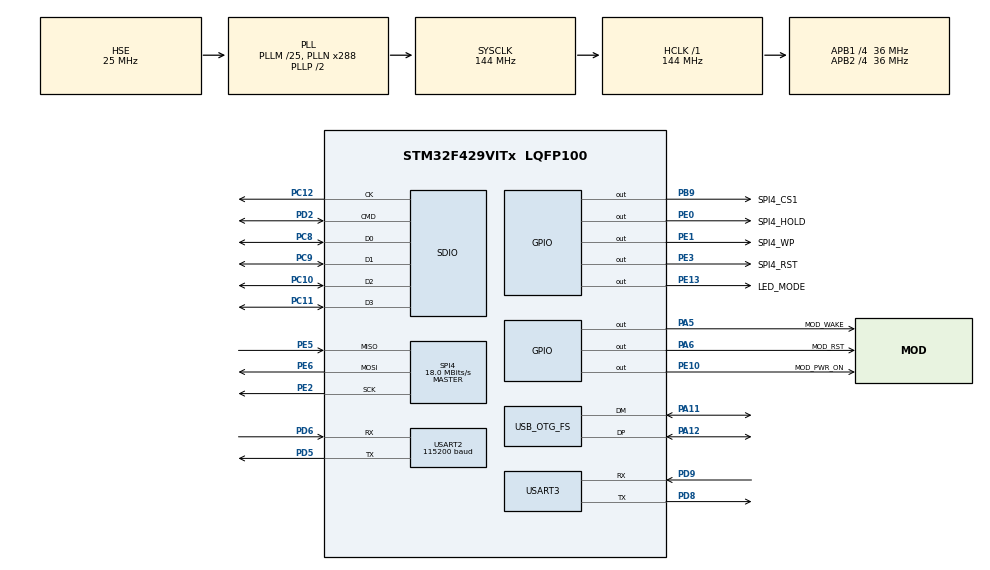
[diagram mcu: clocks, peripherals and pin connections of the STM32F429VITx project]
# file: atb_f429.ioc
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Dma.Request0=SPI4_TX
Dma.Request1=SPI4_RX
Dma.Request2=USART3_TX
Dma.Request3=SDIO
Dma.Request4=USART2_TX
Dma.SDIO.3.Direction=DMA_PERIPH_TO_MEMORY
Dma.SDIO.3.FIFOMode=DMA_FIFOMODE_ENABLE
Dma.SDIO.3.FIFOThreshold=DMA_FIFO_THRESHOLD_FULL
Dma.SDIO.3.Instance=DMA2_Stream3
Dma.SDIO.3.MemBurst=DMA_MBURST_INC4
Dma.SDIO.3.MemDataAlignment=DMA_MDATAALIGN_WORD
Dma.SDIO.3.MemInc=DMA_MINC_ENABLE
Dma.SDIO.3.Mode=DMA_PFCTRL
Dma.SDIO.3.PeriphBurst=DMA_PBURST_INC4
Dma.SDIO.3.PeriphDataAlignment=DMA_PDATAALIGN_WORD
Dma.SDIO.3.PeriphInc=DMA_PINC_DISABLE
Dma.SDIO.3.Priority=DMA_PRIORITY_LOW
Dma.SPI4_RX.1.Direction=DMA_PERIPH_TO_MEMORY
Dma.SPI4_RX.1.FIFOMode=DMA_FIFOMODE_DISABLE
Dma.SPI4_RX.1.Instance=DMA2_Stream0
Dma.SPI4_RX.1.MemDataAlignment=DMA_MDATAALIGN_BYTE
Dma.SPI4_RX.1.MemInc=DMA_MINC_ENABLE
Dma.SPI4_RX.1.Mode=DMA_NORMAL
Dma.SPI4_RX.1.PeriphDataAlignment=DMA_PDATAALIGN_BYTE
Dma.SPI4_RX.1.PeriphInc=DMA_PINC_DISABLE
Dma.SPI4_RX.1.Priority=DMA_PRIORITY_MEDIUM
Dma.SPI4_TX.0.Direction=DMA_MEMORY_TO_PERIPH
Dma.SPI4_TX.0.FIFOMode=DMA_FIFOMODE_DISABLE
Dma.SPI4_TX.0.Instance=DMA2_Stream1
Dma.SPI4_TX.0.MemDataAlignment=DMA_MDATAALIGN_BYTE
Dma.SPI4_TX.0.MemInc=DMA_MINC_ENABLE
Dma.SPI4_TX.0.Mode=DMA_NORMAL
Dma.SPI4_TX.0.PeriphDataAlignment=DMA_PDATAALIGN_BYTE
Dma.SPI4_TX.0.PeriphInc=DMA_PINC_DISABLE
Dma.SPI4_TX.0.Priority=DMA_PRIORITY_MEDIUM
Dma.USART2_TX.4.Direction=DMA_MEMORY_TO_PERIPH
Dma.USART2_TX.4.FIFOMode=DMA_FIFOMODE_DISABLE
Dma.USART2_TX.4.Instance=DMA1_Stream6
Dma.USART2_TX.4.MemDataAlignment=DMA_MDATAALIGN_BYTE
Dma.USART2_TX.4.MemInc=DMA_MINC_ENABLE
Dma.USART2_TX.4.Mode=DMA_NORMAL
Dma.USART2_TX.4.PeriphDataAlignment=DMA_PDATAALIGN_BYTE
Dma.USART2_TX.4.PeriphInc=DMA_PINC_DISABLE
Dma.USART2_TX.4.Priority=DMA_PRIORITY_MEDIUM
Dma.USART3_TX.2.Direction=DMA_MEMORY_TO_PERIPH
Dma.USART3_TX.2.FIFOMode=DMA_FIFOMODE_DISABLE
Dma.USART3_TX.2.Instance=DMA1_Stream3
Dma.USART3_TX.2.MemDataAlignment=DMA_MDATAALIGN_BYTE
Dma.USART3_TX.2.MemInc=DMA_MINC_ENABLE
Dma.USART3_TX.2.Mode=DMA_NORMAL
Dma.USART3_TX.2.PeriphDataAlignment=DMA_PDATAALIGN_BYTE
Dma.USART3_TX.2.PeriphInc=DMA_PINC_DISABLE
Dma.USART3_TX.2.Priority=DMA_PRIORITY_HIGH
FATFS.USE_DMA_CODE_SD=0
FATFS._CODE_PAGE=850
FATFS._LFN_UNICODE=0
FATFS._MAX_LFN=128
FATFS._MAX_SS=512
FATFS._STRF_ENCODE=0
FATFS._USE_LFN=1
FATFS._USE_TRIM=1
Mcu.Family=STM32F4
Mcu.Name=STM32F429VITx
Mcu.Package=LQFP100
NVIC.DMA1_Stream3_IRQn=true\:0\:0\:false\:false\:true\:false\:true\:true
NVIC.DMA1_Stream6_IRQn=true\:0\:0\:false\:false\:true\:false\:true\:true
NVIC.DMA2_Stream0_IRQn=true\:0\:0\:false\:false\:true\:false\:true\:true
NVIC.DMA2_Stream1_IRQn=true\:0\:0\:false\:false\:true\:false\:true\:true
NVIC.DMA2_Stream3_IRQn=true\:0\:0\:false\:false\:true\:false\:true\:true
NVIC.OTG_FS_IRQn=true\:0\:0\:false\:false\:true\:false\:true\:true
NVIC.PriorityGroup=NVIC_PRIORITYGROUP_4
NVIC.SDIO_IRQn=true\:0\:0\:false\:false\:true\:true\:true\:true
NVIC.SPI4_IRQn=true\:0\:0\:false\:false\:true\:true\:true\:true
NVIC.TIM2_IRQn=true\:0\:0\:false\:false\:true\:true\:true\:true
NVIC.USART2_IRQn=true\:0\:0\:false\:false\:true\:true\:true\:true
NVIC.USART3_IRQn=true\:0\:0\:false\:false\:true\:true\:true\:true
PA11.Mode=Device_Only
PA11.Signal=USB_OTG_FS_DM
PA12.Mode=Device_Only
PA12.Signal=USB_OTG_FS_DP
PA5.GPIO_Label=MOD_WAKE
PA5.Signal=GPIO_Output
PA6.GPIO_Label=MOD_RST
PA6.GPIO_PuPd=GPIO_PULLUP
PA6.PinState=GPIO_PIN_SET
PA6.Signal=GPIO_Output
PB9.GPIO_Label=SPI4_CS1
PB9.GPIO_PuPd=GPIO_PULLUP
PB9.GPIO_Speed=GPIO_SPEED_FREQ_HIGH
PB9.PinState=GPIO_PIN_SET
PB9.Signal=GPIO_Output
PC10.Mode=SD_4_bits_Wide_bus
PC10.Signal=SDIO_D2
PC11.Mode=SD_4_bits_Wide_bus
PC11.Signal=SDIO_D3
PC12.GPIO_PuPd=GPIO_NOPULL
PC12.Mode=SD_4_bits_Wide_bus
PC12.Signal=SDIO_CK
PC14/OSC32_IN.Mode=LSE-External-Oscillator
PC14/OSC32_IN.Signal=RCC_OSC32_IN
PC15/OSC32_OUT.Mode=LSE-External-Oscillator
PC15/OSC32_OUT.Signal=RCC_OSC32_OUT
PC8.GPIO_PuPd=GPIO_NOPULL
PC8.Mode=SD_4_bits_Wide_bus
PC8.Signal=SDIO_D0
PC9.Mode=SD_4_bits_Wide_bus
PC9.Signal=SDIO_D1
PD2.GPIO_PuPd=GPIO_NOPULL
PD2.Mode=SD_4_bits_Wide_bus
PD2.Signal=SDIO_CMD
PD3.Signal=USART2_CTS
PD4.Signal=USART2_RTS
PD5.Mode=Asynchronous
PD5.Signal=USART2_TX
PD6.Mode=Asynchronous
PD6.Signal=USART2_RX
PD8.Mode=Asynchronous
PD8.Signal=USART3_TX
PD9.Mode=Asynchronous
PD9.Signal=USART3_RX
PE0.GPIO_Label=SPI4_HOLD
PE0.GPIO_PuPd=GPIO_PULLUP
PE0.GPIO_Speed=GPIO_SPEED_FREQ_MEDIUM
PE0.PinState=GPIO_PIN_SET
PE0.Signal=GPIO_Output
PE1.GPIO_Label=SPI4_WP
PE1.GPIO_PuPd=GPIO_PULLUP
PE1.GPIO_Speed=GPIO_SPEED_FREQ_MEDIUM
PE1.Signal=GPIO_Output
PE10.GPIO_Label=MOD_PWR_ON
PE10.GPIO_ModeDefaultOutputPP=GPIO_MODE_OUTPUT_OD
PE10.GPIO_PuPd=GPIO_PULLUP
PE10.Signal=GPIO_Output
PE13.GPIO_Label=LED_MODE
PE13.GPIO_PuPd=GPIO_PULLUP
PE13.GPIO_Speed=GPIO_SPEED_FREQ_MEDIUM
PE13.Signal=GPIO_Output
PE2.Mode=Full_Duplex_Master
PE2.Signal=SPI4_SCK
PE3.GPIO_Label=SPI4_RST
PE3.GPIO_PuPd=GPIO_PULLUP
PE3.GPIO_Speed=GPIO_SPEED_FREQ_LOW
PE3.PinState=GPIO_PIN_SET
PE3.Signal=GPIO_Output
PE5.Mode=Full_Duplex_Master
PE5.Signal=SPI4_MISO
PE6.Mode=Full_Duplex_Master
PE6.Signal=SPI4_MOSI
PH0/OSC_IN.Mode=HSE-External-Oscillator
PH0/OSC_IN.Signal=RCC_OSC_IN
PH1/OSC_OUT.Mode=HSE-External-Oscillator
PH1/OSC_OUT.Signal=RCC_OSC_OUT
ProjectManager.HeapSize=0x1800
ProjectManager.StackSize=0x1800
ProjectManager.TargetToolchain=STM32CubeIDE
RCC.48MHZClocksFreq_Value=48000000
RCC.AHBFreq_Value=144000000
RCC.APB1CLKDivider=RCC_HCLK_DIV4
RCC.APB1Freq_Value=36000000
RCC.APB1TimFreq_Value=72000000
RCC.APB2CLKDivider=RCC_HCLK_DIV4
RCC.APB2Freq_Value=36000000
RCC.APB2TimFreq_Value=72000000
RCC.CortexFreq_Value=144000000
RCC.HCLKFreq_Value=144000000
RCC.HSE_VALUE=25000000
RCC.HSI_VALUE=16000000
RCC.PLLM=25
RCC.PLLN=288
RCC.PLLQ=6
RCC.RCC_RTC_Clock_Source=RCC_RTCCLKSOURCE_LSE
RCC.RCC_RTC_Clock_SourceVirtual=RCC_RTCCLKSOURCE_LSE
RCC.SYSCLKFreq_VALUE=144000000
RCC.SYSCLKSource=RCC_SYSCLKSOURCE_PLLCLK
RCC.VCOOutputFreq_Value=288000000
RTC.Date=14
RTC.Year=24
SDIO.ClockBypass=SDIO_CLOCK_BYPASS_DISABLE
SDIO.ClockDiv=48
SDIO.ClockEdge=SDIO_CLOCK_EDGE_RISING
SDIO.ClockPowerSave=SDIO_CLOCK_POWER_SAVE_DISABLE
SDIO.HardwareFlowControl=SDIO_HARDWARE_FLOW_CONTROL_DISABLE
SPI4.BaudRatePrescaler=SPI_BAUDRATEPRESCALER_2
SPI4.CalculateBaudRate=18.0 MBits/s
SPI4.Direction=SPI_DIRECTION_2LINES
SPI4.Mode=SPI_MODE_MASTER
SPI4.VirtualType=VM_MASTER
TIM2.AutoReloadPreload=TIM_AUTORELOAD_PRELOAD_ENABLE
TIM2.ClockDivision=TIM_CLOCKDIVISION_DIV2
TIM2.Period=499
TIM2.Prescaler=35999
USART2.BaudRate=115200
USART2.OverSampling=UART_OVERSAMPLING_16
USART2.VirtualMode=VM_ASYNC
USART3.VirtualMode=VM_ASYNC
USB_DEVICE.APP_RX_DATA_SIZE-CDC_FS=1024
USB_DEVICE.APP_TX_DATA_SIZE-CDC_FS=1024
USB_DEVICE.CLASS_NAME_FS=CDC
USB_DEVICE.VirtualMode-CDC_FS=Cdc
USB_DEVICE.VirtualModeFS=Cdc_FS
USB_OTG_FS.VirtualMode=Device_Only
VP_FATFS_VS_SDIO.Mode=SDIO
VP_RTC_VS_RTC_Activate.Mode=RTC_Enabled
VP_RTC_VS_RTC_Calendar.Mode=RTC_Calendar
VP_TIM2_VS_ClockSourceINT.Mode=Internal
VP_USB_DEVICE_VS_USB_DEVICE_CDC_FS.Mode=CDC_FS
board=custom

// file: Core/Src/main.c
/* USER CODE BEGIN Header */
/**
  ******************************************************************************
  * @file           : main.c
  * @brief          : Main program body
  ******************************************************************************
  * @attention
  *
  * Copyright (c) 2024 STMicroelectronics.
  * All rights reserved.
  *
  * This software is licensed under terms that can be found in the LICENSE file
  * in the root directory of this software component.
  * If no LICENSE file comes with this software, it is provided AS-IS.
  *
  ******************************************************************************
  arm-none-eabi-objcopy -O ihex "${BuildArtifactFileBaseName}.elf" "${BuildArtifactFileBaseName}.hex" && arm-none-eabi-objcopy -O binary "${BuildArtifactFileBaseName}.elf" "${BuildArtifactFileBaseName}.bin" && ls -la | grep "${BuildArtifactFileBaseName}.*"
  */
/* USER CODE END Header */
#include "main.h"
#include "fatfs.h"
#include "usb_device.h"

/* USER CODE BEGIN Includes */

#include "usbd_cdc_if.h"
#include "mod.h"
//#include "usbd_storage_if.h"

/* USER CODE END Includes */

RTC_HandleTypeDef hrtc;

SD_HandleTypeDef hsd;
DMA_HandleTypeDef hdma_sdio;

SPI_HandleTypeDef hspi4;
DMA_HandleTypeDef hdma_spi4_tx;
DMA_HandleTypeDef hdma_spi4_rx;

TIM_HandleTypeDef htim2;

UART_HandleTypeDef huart2;
UART_HandleTypeDef huart3;
DMA_HandleTypeDef hdma_usart2_tx;
DMA_HandleTypeDef hdma_usart3_tx;

/* USER CODE BEGIN PV */
uint16_t devError = HAL_OK;

TIM_HandleTypeDef *timePort = &htim2;
UART_HandleTypeDef *portLOG = &huart3;//порт логов (uart)
#ifdef SET_W25FLASH
	SPI_HandleTypeDef *portFLASH = &hspi4;
	uint32_t spi_cnt = 0;
	uint8_t spiRdy = 1;
#endif
UART_HandleTypeDef *portMODEM = &huart2;//порт модема (uart)

char atCmd[256] = {0};
char atAck[256] = {0};
volatile uint8_t uartRdyMod = 1;
char RxBufMod[256] = {0};
volatile uint8_t rx_uk_mod;
volatile uint8_t uRxByteMod = 0;

uint8_t pageBuf[256];
char cmdBuf[MAX_UART_BUF + 24];
volatile uint8_t uartRdy = 1;
char RxBuf[MAX_UART_BUF] = {0};
volatile uint8_t rx_uk;
volatile uint8_t uRxByte = 0;

char oBuf[1024] = {0};
char iBuf[1024] = {0};
int np = 0;
uint32_t len_data = 0, len = 0;

volatile uint32_t vatra = 0;
volatile uint32_t seconda = 0;
uint32_t tmr = 0;
bool setDate = false;
static uint32_t epoch = 1722430459;//1720606603;//1714116555;//1705500950;//1705391321;
uint8_t tZone = 3;
volatile bool QuitLoop = false;

const char *eol = "\n";
uint32_t strob = 0;
int8_t cmd = sNone;
int8_t icmd = sNone;
const uint32_t period = 30;//sec

#ifdef SET_W25FLASH
	bool chipPresent = false;
	uint32_t cid = 0;
	//
	int adr_sector = 0, offset_sector = 0, list_sector = 0, len_write = 0;
	int cmd_sector = sNone, last_cmd_sector = sNone;
	uint8_t byte_fill = 0xff;
	bool flag_sector = false;
	uint32_t esector = 0, rpage = 0;
	uint8_t *pbuf = NULL;
	//
#endif

#ifdef SET_FAT_SD
	extern char SDPath[4];       // SD logical drive path
	extern FATFS SDFatFS;        // File system object for SD logical drive
	const char *cfg = "url.txt";
	bool mnt = false;
	const char *dirName = "/";
	unsigned char fs_work[_MAX_SS] = {0};
	char strf[512] = {0};
	char str_name[_MAX_LFN] = {0};
#endif

uint32_t lenVCP = 0;
char rxVCP[128] = {0};

s_recq_t gsmAck;
bool gsmAckFlag = false;
uint8_t adone = 0;

char egts_addr[MAX_ADDR_LEN] = {0};
char ctrl_addr[MAX_ADDR_LEN] = {0};

/* USER CODE END PV */

void SystemClock_Config(void);
static void MX_GPIO_Init(void);
static void MX_DMA_Init(void);
static void MX_SPI4_Init(void);
static void MX_RTC_Init(void);
static void MX_USART3_UART_Init(void);
static void MX_TIM2_Init(void);
static void MX_USART2_UART_Init(void);
static void MX_SDIO_SD_Init(void);

/* USER CODE BEGIN 0 */

//----------------------------------------------------------------------------------------
bool initSRECQ(s_recq_t *q)//s_recq_t recq;
{
	q->put = q->get = 0;
	for (uint8_t i = 0; i < MAX_SQREC; i++) {
		q->rec[i].id = i;
		q->rec[i].adr = NULL;
	}
	return true;
}
//----------------------------------------------------------------------------------------
void clearSRECQ(s_recq_t *q)
{
	q->put = q->get = 0;
	for (uint8_t i = 0; i < MAX_SQREC; i++) {
		q->rec[i].id = i;
		free(q->rec[i].adr);
		q->rec[i].adr = NULL;
	}
}
//----------------------------------------------------------------------------------------
int8_t putSRECQ(char *adr, s_recq_t *q)
{
int8_t ret = -1;

	if (q->rec[q->put].adr == NULL) {
		q->rec[q->put].adr = adr;
		ret = q->rec[q->put].id;
		q->put++;   if (q->put >= MAX_SQREC) q->put = 0;
	}

	return ret;
}
//----------------------------------------------------------------------------------------
int8_t getSRECQ(char *dat, s_recq_t *q)
{
int8_t ret = -1;
int len = 0;

	if (q->rec[q->get].adr != NULL) {
		len = strlen(q->rec[q->get].adr);
		ret = q->rec[q->get].id;
		memcpy(dat, q->rec[q->get].adr, len);
		free(q->rec[q->get].adr);
		q->rec[q->get].adr = NULL;
	}

	if (ret >= 0) {
		*(dat + len) = '\0';
		q->get++;   if (q->get >= MAX_SQREC) q->get = 0;
	}

	return ret;
}

//------------------------------------------------------------------------------------------

//*****************************************************************************************
//
#ifdef SET_FAT_SD
	//------------------------------------------------------------------------------------
	static char *fsErrName(int fr)
	{
		switch (fr) {
		    case -1://FR_ERR:
		    	return "Error";
			case FR_OK:				// (0) Succeeded
				return "Succeeded";
			case FR_DISK_ERR://			(1) A hard error occurred in the low level disk I/O layer
				return "Error disk I/O";
			case FR_INT_ERR://			(2) Assertion failed
				return "Assertion failed";
			case FR_NOT_READY://		(3) The physical drive cannot work
				return "Drive not ready";
			case FR_NO_FILE://			(4) Could not find the file
				return "No file";
			case FR_NO_PATH://			(5) Could not find the path
				return "No path";
			case FR_INVALID_NAME://		(6) The path name format is invalid
				return "Path error";
			case FR_DENIED://			(7) Access denied due to prohibited access or directory full
			case FR_EXIST://			(8) Access denied due to prohibited access
				return "Access denied";
			case FR_INVALID_OBJECT://	(9) The file/directory object is invalid
				return "Invalid file/dir";
			case FR_WRITE_PROTECTED://	(10) The physical drive is write protected
				return "Write protected";
			case FR_INVALID_DRIVE://	(11) The logical drive number is invalid
				return "Invalid drive number";
			case FR_NOT_ENABLED://		(12) The volume has no work area
				return "Volume no area";
			case FR_NO_FILESYSTEM://	(13) There is no valid FAT volume
				return "Volume has't filesystem";
			case FR_MKFS_ABORTED://		(14) The f_mkfs() aborted due to any problem
				return "f_mkfs() aborted";
			case FR_TIMEOUT://			(15) Could not get a grant to access the volume within defined period
				return "Timeout access";
			case FR_LOCKED://			(16) The operation is rejected according to the file sharing policy
				return "File locked";
			case FR_NOT_ENOUGH_CORE://	(17) LFN working buffer could not be allocated
				return "Allocated buf error";
			case FR_TOO_MANY_OPEN_FILES://	(18) Number of open files > _FS_LOCK
				return "Open file limit";
			case FR_INVALID_PARAMETER://	(19) Given parameter is invalid
				return "Invalid parameter";
		}
		return "Unknown error";
	}
	//------------------------------------------------------------------------------------------
	static char *attrName(uint8_t attr)
	{
		switch (attr) {
			case AM_RDO://	0x01	/* Read only */
				return "Read only";
			case AM_HID://	0x02	/* Hidden */
				return "Hidden";
			case AM_SYS://	0x04	/* System */
				return "System";
			case AM_DIR://	0x10	/* Directory */
				return "Directory";
			case AM_ARC://	0x20	/* Archive */
				return "Archive";
			default : return "Unknown";
		}
	}
	//------------------------------------------------------------------------------------------
	static char *fsName(uint8_t type)
	{
		switch (type) {
			case FM_FAT://	 0x01
				return "FM_FAT";
			case FM_FAT32:// 0x02
				return "FM_FAT32";
			case FM_EXFAT:// 0x04
				return "FM_EXFAT";
			case FM_ANY://	 0x7
				return "FM_ANY";
			case FM_SFD://	 0x8
				return "FM_SFD";
		}
		return "Unknown type FS";
	}
	//------------------------------------------------------------------------------------------
	bool drvMount(const char *path)
	{
	int tp = FM_FAT32;

		FRESULT res = f_mount(&SDFatFS, (const TCHAR *)path, 1);
		if (res == FR_NO_FILESYSTEM) {
			Report(__func__, true, "Mount drive '%s' error #%u (%s)%s", path, res, fsErrName(res), eol);
			res = f_mkfs((const TCHAR *)path, tp, _MAX_SS, fs_work, sizeof(fs_work));
			if (!res) {
				Report(__func__, true, "Make %s fs on drive '%s' OK%s", fsName(tp), path, eol);
				res = f_mount(&SDFatFS, (const TCHAR *)path, 1);
	    	} else {
	    		Report(__func__, true, "Make %s fs error #%u (%s)%s", fsName(tp), res, fsErrName(res), eol);
	    	}
		}
		if (res == FR_OK) {
			Report(__func__, true, "Mount drive '%s' OK%s", path, eol);
		} else {
			Report(__func__, true, "Mount drive '%s' error #%u (%s)%s", path, res, fsErrName(res), eol);
		}

		return (res == FR_OK) ? true : false;
	}
	//--------------------------------------------------------------------------------------------------------
	FRESULT dirList(const char *name_dir)
	{
	DIR dir;

		FRESULT res = f_opendir(&dir, (const TCHAR *)name_dir);
		if (res == FR_OK) {
			FILINFO fno;
			int cnt = -1;
			Report(NULL, true, "Read folder '%s':%s", name_dir, eol);
			for (;;) {
				res = f_readdir(&dir, &fno);
				cnt++;
				if (res || fno.fname[0] == 0) {
					if (!cnt) Report(NULL, false, "\tFolder '%s' is empty%s", name_dir, eol);
					break;
				//} else if (fno.fattrib & AM_DIR) {// It is a directory
				//	Report(NULL, false, "\tIt is folder -> '%s'%s", fno.fname, eol);
				} else {// It is a file.
					Report(NULL, false, "\tname:%s, size:%u bytes, attr:%s%s",
										fno.fname,
										fno.fsize,
										attrName(fno.fattrib),
										eol);
				}
			}
			res = FR_OK;
			f_closedir(&dir);
		}

		return res;
	}
	//--------------------------------------------------------------------------------------------------------
	void wrFile(const char *name, char *text, bool update)
	{
	char tmp[128];
	FIL fp;
	FRESULT res = FR_NO_FILE;
	int8_t err = 0;

		sprintf(tmp, "%s", cfg);
		if (!update) {
			res = f_open(&fp, (const TCHAR *)tmp, FA_READ);
			if (res == FR_OK) {
				res = f_close(&fp);
				Report(NULL, true, "File '%s' allready present and update has't been ordered%s", tmp, eol);
				return;
			}
		}

		int wrt = 0, dl = strlen(text);
		res = f_open(&fp, (const TCHAR *)tmp, FA_CREATE_ALWAYS | FA_WRITE);
		if (res == FR_OK) {
			Report(NULL, true, "Create new file '%s' OK%s", tmp, eol);

			res = f_write(&fp, text, (UINT)dl, (UINT *)&wrt);
			if (res == FR_OK) {
				if (wrt != dl) err = 3;
			} else err = 2;

			res = f_close(&fp);
		} else err = 1;

		if (err) {
			devError |= devFS;
			switch (err) {
				case 1:
					Report(NULL, true, "Create new file '%s' error #%u (%s)%s", tmp, res, fsErrName(res), eol);
				break;
				case 2:
					Report(NULL, true, "Error while write file '%s'%s", tmp, eol);
				break;
				case 3:
					Report(NULL, true, "Error while write file '%s' -> write %d bytes but writen %d bytes%s", tmp, dl, wrt, eol);
				break;
			}
		}
	}
	//--------------------------------------------------------------------------------------------------------
	void rdFile(const char *name)
	{
	FIL fp;

		FRESULT res = f_open(&fp, (const TCHAR *)name, FA_READ);
		if (res == FR_OK) {
			char *tmp = (char *)calloc(1, 512);
			if (!tmp) {
				devError |= devMEM;
				f_close(&fp);
				return;
			}
			////Report(__func__, true, "File '%s' open for reading OK%s", name, eol);
			char *uks = NULL, *uke = NULL;
			while (f_gets((TCHAR *)tmp, sizeof(tmp) - 1, &fp) != NULL) {
				Report(NULL, false, "%s", tmp);
				if ((uke = strchr(uks, '\n'))) {
					*uke = '\0';
					if ((uke = strchr(uks, '\r'))) *uke = '\0';
				}
				if ((uks = strstr(tmp, "egts="))) {
					uks += 5;
					strncpy(egts_addr, uks, sizeof(egts_addr) - 1);
				} else if ((uks = strstr(tmp, "ctrl="))) {
					uks += 5;
					strncpy(ctrl_addr, uks, sizeof(ctrl_addr) - 1);
				}
			}

			free(tmp);

			/*FILINFO fno;
			res = f_stat((const TCHAR *)name, &fno);
			if (res == FR_OK) {
				UINT dl = fno.fsize;
				UINT wrt = 0;
				if (dl >= MAX_UART_BUF) dl = MAX_UART_BUF - 1;
				char *tmp = (char *)calloc(1, dl);
				if (tmp) {
					res = f_read (&fp, tmp, dl, &wrt);
					Report(NULL, false, "%s", tmp);
					free(tmp);
				} else devError |= devMEM;
			} else devError |= devFS;*/

			f_close(&fp);
		} else {
			Report(__func__, true, "Error '%s' while open for reading file '%s'%s", fsErrName(res), name, eol);
		}

	}
	//--------------------------------------------------------------------------------------------------------
#endif

#ifdef SET_W25FLASH
	//
	void printBuffer(const uint8_t *buf, uint32_t len, uint32_t lsize)
	{
	    if ((!len) || (len > PAGE_BUF_SIZE)) return;

	    char *stx = (char *)calloc(1, len << 2);
	    if (stx) {
	        int i = -1;
	        while (++i < len) {
	            if ( (!(i % lsize)) && (i > 0) ) strcat(stx, eol);
	            sprintf(stx+strlen(stx), " %02X", *(uint8_t *)(buf + i));
	        }
	        if (stx[strlen(stx) - 1] != '\n') strcat(stx, eol);
	        Report(NULL, false, "%s", stx);
	        free(stx);
	    } else {
	        devError |= devMEM;
	    }
	}
	//
#endif

//*****************************************************************************************
//------------------------------------------------------------------------------------------
uint32_t get_tmr(uint32_t sec)
{
	return (seconda + sec);
}
//------------------------------------------------------------------------------------------
bool check_tmr(uint32_t sec)
{
	return (seconda >= sec ? true : false);
}
//----------------------------------------------------------------------------------------
uint32_t get_ms250(uint32_t ms250)
{
	return (vatra + ms250);
}
//----------------------------------------------------------------------------------------
bool check_ms250(uint32_t ms250)
{
	return (vatra >= ms250 ? true : false);
}
//----------------------------------------------------------------------------------------
int date_to_str(char *stx)
{
int ret = 0;

	RTC_TimeTypeDef sTime;
	RTC_DateTypeDef sDate;
	if (HAL_RTC_GetDate(&hrtc, &sDate, RTC_FORMAT_BIN) != HAL_OK) {
		devError |= devRTC;
	} else {
		if (HAL_RTC_GetTime(&hrtc, &sTime, RTC_FORMAT_BIN) != HAL_OK) {
			devError |= devRTC;
		} else {
			ret = sprintf(stx, "%02u.%02u %02u:%02u:%02u | ",
							sDate.Date, sDate.Month,
							sTime.Hours, sTime.Minutes, sTime.Seconds);
		}
	}

    return ret;
}
//-----------------------------------------------------------------------------------------
void set_Date(uint32_t usec)
{
struct tm ts;
time_t ep = (time_t)usec;
RTC_TimeTypeDef sTime;
RTC_DateTypeDef sDate;

	gmtime_r(&ep, &ts);

	sDate.WeekDay = ts.tm_wday;
	sDate.Month   = ts.tm_mon + 1;
	sDate.Date    = ts.tm_mday;
	sDate.Year    = ts.tm_year;
	sTime.Hours   = ts.tm_hour + tZone;
	sTime.Minutes = ts.tm_min;
	sTime.Seconds = ts.tm_sec;

	if (HAL_RTC_SetTime(&hrtc, &sTime, RTC_FORMAT_BIN) != HAL_OK) {
		devError |= devRTC;
	} else {
		if (HAL_RTC_SetDate(&hrtc, &sDate, RTC_FORMAT_BIN) != HAL_OK) {
			devError |= devRTC;
		} else {
			setDate = true;
		}
	}
}
//------------------------------------------------------------------------------------------
//   Функция вывода символьной строки в локальный канал управления (portLOG)
//
void Report(const char *tag, bool addTime, const char *fmt, ...)
{
va_list args;
size_t len = MAX_UART_BUF;
int dl = 0;

	char *buff = (char *)calloc(1, len);
	if (buff) {
		if (addTime) dl = date_to_str(buff);

		if (tag) dl += sprintf(buff+strlen(buff), "[%s] ", tag);

		va_start(args, fmt);
		vsnprintf(buff + dl, len - dl, fmt, args);
		int dln = strlen(buff);
		uartRdy = 0;
		if (HAL_UART_Transmit_DMA(portLOG, (uint8_t *)buff, dln) != HAL_OK) devError |= devUART;
		while (!uartRdy) { /*HAL_Delay(1);*/ }
		/*while (HAL_UART_GetState(portLOG) != HAL_UART_STATE_READY) {
			if (HAL_UART_GetState(portLOG) == HAL_UART_STATE_BUSY_RX) break;
			HAL_Delay(1);
		}*/
		va_end(args);

		strcat(buff, "\r");
		if (CDC_Transmit_FS((uint8_t *)buff, (uint16_t)++dln) != USBD_OK) {
			devError |= devVCP;
		} else {
			devError &= ~devVCP;
		}

		free(buff);
	}
}
//---------------------------------------------------------------------------------------------
void putCmd(const char *at, int len)
{
int cnt = 300;

	if (!at || !len) return;

	while (!uartRdyMod) {
		HAL_Delay(1);
		cnt--;
		if (!cnt) {
			devError |= devUART;
			if (!uartRdyMod) return;
		}
	}

	uartRdyMod = 0;
	if (HAL_UART_Transmit_DMA(portMODEM, (uint8_t *)at, (uint16_t)len) != HAL_OK) devError |= devUART;
	//while (!uartRdyMod) { HAL_Delay(1); }
}
//----------------------------------------------------------------------------------------
uint8_t hexToBin(char *sc)
{
char st = 0, ml = 0;

    if ((sc[0] >= '0') && (sc[0] <= '9')) st = (sc[0] - 0x30);
    else
    if ((sc[0] >= 'A') && (sc[0] <= 'F')) st = (sc[0] - 0x37);
    else
    if ((sc[0] >= 'a') && (sc[0] <= 'f')) st = (sc[0] - 0x57);

    if ((sc[1] >= '0') && (sc[1] <= '9')) ml = (sc[1] - 0x30);
    else
    if ((sc[1] >= 'A') && (sc[1] <= 'F')) ml = (sc[1] - 0x37);
    else
    if ((sc[1] >= 'a') && (sc[1] <= 'f')) ml = (sc[1] - 0x57);

    return ((st << 4) | (ml & 0x0f));

}
//---------------------------------------------------------------------------------------------

/* USER CODE END 0 */

int main(void)
{

  /* MCU Configuration--------------------------------------------------------*/

  /* Reset of all peripherals, Initializes the Flash interface and the Systick. */
  HAL_Init();

  /* Configure the system clock */
  SystemClock_Config();

  /* Initialize all configured peripherals */
  MX_GPIO_Init();
  MX_DMA_Init();
  MX_SPI4_Init();
  MX_RTC_Init();
  MX_USART3_UART_Init();
  MX_TIM2_Init();
  MX_USART2_UART_Init();
  MX_USB_DEVICE_Init();
  MX_SDIO_SD_Init();
  MX_FATFS_Init();
  /* USER CODE BEGIN 2 */

    //HAL_GPIO_WritePin(LED_MODE_GPIO_Port, LED_MODE_Pin, GPIO_PIN_SET);

    //HAL_Delay(1000);

    HAL_UART_Receive_IT(portLOG, (uint8_t *)&uRxByte, 1);
    HAL_UART_Receive_IT(portMODEM, (uint8_t *)&uRxByteMod, 1);

    HAL_TIM_Base_Start_IT(timePort);

    set_Date(epoch);

    gsmAckFlag = initSRECQ(&gsmAck);

    HAL_GPIO_WritePin(MOD_WAKE_GPIO_Port, MOD_WAKE_Pin, GPIO_PIN_RESET);
    HAL_Delay(500);
    HAL_GPIO_WritePin(MOD_RST_GPIO_Port, MOD_RST_Pin, GPIO_PIN_RESET);
    HAL_Delay(1000);
    HAL_GPIO_WritePin(MOD_PWR_ON_GPIO_Port, MOD_PWR_ON_Pin, GPIO_PIN_SET);
    HAL_Delay(1000);

#ifdef SET_W25FLASH

    chipPresent = W25qxx_Init();
    if (!chipPresent) {
    	Report(NULL, true, "Unknown chipID (err=%u)%s", devError, eol);
    } else {
    	cid = W25qxx_getChipID();

    	pbuf = (uint8_t *)calloc(1, page_buf_size);
    	if (!pbuf) devError |= devMEM;

    	list_sector = W25qxx_getPageSize() << 2;
	}
    int32_t esec = 0;
    uint8_t idx = MAX_SEC_PRN;

#endif

#ifdef SET_FAT_SD

    FRESULT rt = -1;

    //f_mount(NULL, (const TCHAR *)SDPath, 1);
    HAL_Delay(1000);

	if ((mnt = drvMount(SDPath))) {
		//
		DWORD chislo = 0;
		FATFS *fs = &SDFatFS;
		f_getfree((const TCHAR *)SDPath, &chislo, &fs);	/* Get number of free clusters on the drive */
		Report(NULL, true, "Free claster on drive '%s' is %u %s", SDPath, chislo, eol);
		//------------------------------------------------------------------------
		if ((rt = dirList(dirName)) == FR_OK) {
			//
			//sprintf(strf, "Project atb_f429 %s (atb-mini)%s\n", VERSION, eol);
			//wrFile(cfg, strf, true);
			//
			//HAL_Delay(500);
			rdFile(cfg);
			//
		} else {
			Report(__func__, true, "Error dirlist('%s%s')='%s'%s", SDPath, dirName, fsErrName(rt), eol);
		}
		//------------------------------------------------------------------------
		//if (f_mount(NULL, (const TCHAR *)SDPath, 1) == FR_OK) mnt = false;
		//Report(__func__, true, "Umount drive '%.*s'%s", sizeof(SDPath), SDPath, eol);
	} else {
		Report(__func__, true, "Mount disk Error '%s'%s", fsErrName(mnt), eol);
	}

	//
#endif

  /* USER CODE END 2 */

  /* Infinite loop */
  /* USER CODE BEGIN WHILE */

	int32_t snext = -1;
    //uint32_t tmr = get_tmr(2);
    const uint32_t waits = 180;
    int pval = -1;
    uint32_t rst_tmr = 0;//get_ms250(_1s);

    strob = get_tmr(waits);//set timer to 3 minutes

    cmd = sGetMsg;//sNone;//sModRst;

    while (!QuitLoop) {

      if (gsmAckFlag) {//command to GSM module queue is ready
    	  atAck[0] = '\0';
    	  if (getSRECQ(atAck, &gsmAck) >= 0) {
    		  if (strlen(atAck)) Report(NULL, false, "%s\n", atAck);
    	  }
      }

      /*if (lenVCP) {
    	  if (strchr(rxVCP, '\n')) {
    		  Report(__func__, true, "%s", rxVCP);
    		  lenVCP = 0;
    		  memset(rxVCP, 0, sizeof(rxVCP));
    	  }
      }*/

	  /*if (check_tmr(tmr)) {
		  tmr = get_tmr(30);
		  sprintf(oBuf, "msec=%lu Packet number=%d (err=%u)%s", HAL_GetTick(), np++, devError, eol);
		  if (snext) Report(NULL, true, "%s", oBuf);
	  }*/

	  switch (cmd) {
	  	  case sRestart:
	  		  QuitLoop = true;
	  		  Report(NULL, true, "Go go restart STM32F429...%s", eol);
	  		  if (mnt) {
	  			  f_mount(NULL, (const TCHAR *)SDPath, 1);
	  			  mnt = false;
	  		  }
	  		  NVIC_SystemReset();
	  		  break;
		  break;
	  	  case sGetMsg:
	  		  //tmr = get_tmr(0);
	  		  sprintf(oBuf, "msec=%lu Packet number=%d (err=%u)%s", HAL_GetTick(), np++, devError, eol);
	  		  if (snext) Report(NULL, true, "%s", oBuf);
	  		  cmd = sNone;
		  break;
	  	  case sErase:
#ifdef SET_W25FLASH
	  		  if (chipPresent) {
	  			  if (esector == W25qxx_getSectorCount()) {
	  				  if (snext == -1) {
	  					  snext = 0;
	  					  idx = MAX_SEC_PRN;
	  					  //wt = 1;
	  					  Report(NULL, true, "Start erase all sector's (%u)...%s", W25qxx_getSectorCount(), eol);
	  				  }
	  			  } else {
	  				  W25qxx_EraseSector(esector, 1);
	  				  cmd = sRead;
	  				  strob = get_tmr(waits);
	  				  break;
	  			  }
	  			  //tmr = get_tmr(period);
	  		  } else Report(NULL, true, "Unknown chipID (err=%u)%s", devError, eol);
#endif
	  		  strob = get_tmr(waits);
	  		  cmd = sNone;
	  	  break;
	  	  case sRead:
#ifdef SET_W25FLASH
	  		  if (chipPresent) {
	  			  if (pbuf) {
	  				  W25qxx_ReadPage(pbuf, rpage, 0, page_buf_size);
	  				  Report(NULL, 1, "Read page #%lu sector #%lu:%s", rpage, W25qxx_PageToSector(rpage), eol);
	  				  printBuffer(pbuf, page_buf_size, 32);
	  			  }
	  			  //tmr = get_tmr(period);
	  	  	  } else Report(NULL, true, "Unknown chipID (err=%u)%s", devError, eol);
#endif
	  		  strob = get_tmr(waits);
	  		  cmd = sNone;
	  	  break;
	  	  case sFill:
#ifdef SET_W25FLASH
	  		  if (chipPresent) {
	  			  if (pbuf) {
	  				  W25qxx_FillPage(byte_fill, rpage, 0, W25qxx_getPageSize());
	  				  Report(NULL, 1, "Fill page #%lu sector #%lu to 0x%X%s", rpage, W25qxx_PageToSector(rpage), byte_fill, eol);
	  				  cmd = sRead;
	  				  strob = get_tmr(waits);
	  				  break;
	  			  }
	  			  //tmr = get_tmr(period);
	  		  } else Report(NULL, true, "Unknown chipID (err=%u)%s", devError, eol);
#endif
	  		  strob = get_tmr(waits);
	  		  cmd = sNone;
	  	  break;
	  	  case sRdDir:
#ifdef SET_FAT_SD
	  		  if (strlen(str_name)) {
	  			  if (!mnt) mnt = drvMount(SDPath);
	  			  if (mnt) dirList(str_name);
	  			  memset(str_name, 0, sizeof(str_name));
	  			  //tmr = get_tmr(period);
	  		  }
#endif
	  		  strob = get_tmr(waits);
	  		  cmd = sNone;
	  	  break;
	  	  case sMkDir:
#ifdef SET_FAT_SD
	  		  if (strlen(str_name)) {
	  			  if (!mnt) mnt = drvMount(SDPath);
	  			  if (mnt) {
	  				  f_mkdir(str_name);
	  				  dirList(dirName);
	  				  memset(str_name, 0, sizeof(str_name));
	  				  //tmr = get_tmr(period);
	  			  }
	  		  }
#endif
	  		  strob = get_tmr(waits);
	  		  cmd = sNone;
	  	  break;
	  	  case sRdFile:
#ifdef SET_FAT_SD
	  		  if (strlen(str_name)) {
	  			  if (!mnt) mnt = drvMount(SDPath);
	  			  if (mnt) rdFile(str_name);
	  			  memset(str_name, 0, sizeof(str_name));
	  			  //tmr = get_tmr(period);
	  		  }
#endif
	  		  strob = get_tmr(waits);
	  		  cmd = sNone;
	  	  break;
	  	  case sRemove:
#ifdef SET_FAT_SD
	  		  if (strlen(str_name)) {
	  			  if (!mnt) mnt = drvMount(SDPath);
	  			  if (mnt) {
	  				  f_unlink(str_name);
	  				  memset(str_name, 0, sizeof(str_name));
	  				  dirList(dirName);
	  				  //tmr = get_tmr(period);
	  			  }
	  		  }
#endif
	  		  strob = get_tmr(waits);
	  		  cmd = sNone;
	  	  break;
	  	  case sModCmd:
	  	  {
	  		  int dln = strlen(atCmd);
	  		  if (dln) {
	  			  strcat(atCmd, eol);
	  			  dln += 2;
	  			  putCmd(atCmd, dln);
	  			  Report(NULL, false, "%d:%.*s%s", icmd, dln - 4, atCmd + 2, eol);
	  			  //tmr = get_tmr(period);
	  			  HAL_Delay(50);
	  		  }
	  		  strob = get_tmr(waits);
	  		  cmd = sNone;
	  	  }
	  	  break;
	  	  case sModAck:
	  		  if (strlen(atAck)) Report(NULL, false, "%s", atAck);
	  		  strob = get_tmr(waits);
	  		  cmd = sNone;
	  		  //tmr = get_tmr(period);
	  	  break;
	  	  case sModPwrOn:
	  	  case sModPwrOff:
	  	  {
	  		  if (cmd == sModPwrOff) pval = GPIO_PIN_RESET; else pval = GPIO_PIN_SET;
	  		  HAL_GPIO_WritePin(MOD_PWR_ON_GPIO_Port, MOD_PWR_ON_Pin, pval);
	  		  strob = get_tmr(waits);
	  		  cmd = sNone;
	  		  //tmr = get_tmr(period);
	  	  }
	  	  break;
	  	  case sModRst:
	  		  pval = GPIO_PIN_SET;
	  		  HAL_GPIO_WritePin(MOD_RST_GPIO_Port, MOD_RST_Pin, pval);
	  		  Report(NULL, true, "MOD_RST_PIN=%d%s", pval, eol);
	  		  strob = get_tmr(waits);
	  		  rst_tmr = get_tmr(2);
	  		  cmd = sNone;
	  		  //tmr = get_tmr(period);
	  	  break;
	  }

	  if (QuitLoop) break;

	  if (rst_tmr) {
		  if (check_tmr(rst_tmr)) {
			  rst_tmr = 0;
			  pval = GPIO_PIN_RESET;
			  HAL_GPIO_WritePin(MOD_RST_GPIO_Port, MOD_RST_Pin, pval);
			  Report(NULL, true, "MOD_RST_PIN=%d%s", pval, eol);
		  }
	  }
#ifdef SET_W25FLASH
	  if (!snext) {
		  W25qxx_EraseSector(esec++, 0);
		  idx--;
		  if (!idx) idx = MAX_SEC_PRN;
		  if (esec == W25qxx_getSectorCount()) {
			  Report(NULL, true, "Done erase all sector's (%u)%s", W25qxx_getSectorCount(), eol);
			  snext = -1;
			  //wt = 100;
		  }
		  strob = get_tmr(waits);
	  }
#endif

	  //HAL_Delay(wt);

	  if (strob) {
		  if (check_tmr(strob)) {
			  QuitLoop = 0;
			  strob = 0;
		  }
	  }

    /* USER CODE END WHILE */

    /* USER CODE BEGIN 3 */

    }

#ifdef SET_W25FLASH
    if (pbuf) free(pbuf);
#endif

    Report(NULL, true, "Quit command received.%s", eol);

    f_mount(NULL, (const TCHAR *)SDPath, 1);

    LOOP_FOREVER();

  /* USER CODE END 3 */
}

void SystemClock_Config(void)
{
  RCC_OscInitTypeDef RCC_OscInitStruct = {0};
  RCC_ClkInitTypeDef RCC_ClkInitStruct = {0};

  /** Configure the main internal regulator output voltage
  */
  __HAL_RCC_PWR_CLK_ENABLE();
  __HAL_PWR_VOLTAGESCALING_CONFIG(PWR_REGULATOR_VOLTAGE_SCALE1);

  /** Initializes the RCC Oscillators according to the specified parameters
  * in the RCC_OscInitTypeDef structure.
  */
  RCC_OscInitStruct.OscillatorType = RCC_OSCILLATORTYPE_HSE|RCC_OSCILLATORTYPE_LSE;
  RCC_OscInitStruct.HSEState = RCC_HSE_ON;
  RCC_OscInitStruct.LSEState = RCC_LSE_ON;
  RCC_OscInitStruct.PLL.PLLState = RCC_PLL_ON;
  RCC_OscInitStruct.PLL.PLLSource = RCC_PLLSOURCE_HSE;
  RCC_OscInitStruct.PLL.PLLM = 25;
  RCC_OscInitStruct.PLL.PLLN = 288;
  RCC_OscInitStruct.PLL.PLLP = RCC_PLLP_DIV2;
  RCC_OscInitStruct.PLL.PLLQ = 6;
  if (HAL_RCC_OscConfig(&RCC_OscInitStruct) != HAL_OK)
  {
    Error_Handler();
  }

  /** Initializes the CPU, AHB and APB buses clocks
  */
  RCC_ClkInitStruct.ClockType = RCC_CLOCKTYPE_HCLK|RCC_CLOCKTYPE_SYSCLK
                              |RCC_CLOCKTYPE_PCLK1|RCC_CLOCKTYPE_PCLK2;
  RCC_ClkInitStruct.SYSCLKSource = RCC_SYSCLKSOURCE_PLLCLK;
  RCC_ClkInitStruct.AHBCLKDivider = RCC_SYSCLK_DIV1;
  RCC_ClkInitStruct.APB1CLKDivider = RCC_HCLK_DIV4;
  RCC_ClkInitStruct.APB2CLKDivider = RCC_HCLK_DIV4;

  if (HAL_RCC_ClockConfig(&RCC_ClkInitStruct, FLASH_LATENCY_4) != HAL_OK)
  {
    Error_Handler();
  }
}

static void MX_RTC_Init(void)
{

  RTC_TimeTypeDef sTime = {0};
  RTC_DateTypeDef sDate = {0};

  /** Initialize RTC Only
  */
  hrtc.Instance = RTC;
  hrtc.Init.HourFormat = RTC_HOURFORMAT_24;
  hrtc.Init.AsynchPrediv = 127;
  hrtc.Init.SynchPrediv = 255;
  hrtc.Init.OutPut = RTC_OUTPUT_DISABLE;
  hrtc.Init.OutPutPolarity = RTC_OUTPUT_POLARITY_HIGH;
  hrtc.Init.OutPutType = RTC_OUTPUT_TYPE_OPENDRAIN;
  if (HAL_RTC_Init(&hrtc) != HAL_OK)
  {
    Error_Handler();
  }

  /** Initialize RTC and set the Time and Date
  */
  sTime.Hours = 0x0;
  sTime.Minutes = 0x0;
  sTime.Seconds = 0x0;
  sTime.DayLightSaving = RTC_DAYLIGHTSAVING_NONE;
  sTime.StoreOperation = RTC_STOREOPERATION_RESET;
  if (HAL_RTC_SetTime(&hrtc, &sTime, RTC_FORMAT_BCD) != HAL_OK)
  {
    Error_Handler();
  }
  sDate.WeekDay = RTC_WEEKDAY_MONDAY;
  sDate.Month = RTC_MONTH_JANUARY;
  sDate.Date = 0x14;
  sDate.Year = 0x24;

  if (HAL_RTC_SetDate(&hrtc, &sDate, RTC_FORMAT_BCD) != HAL_OK)
  {
    Error_Handler();
  }

}

static void MX_SDIO_SD_Init(void)
{

  hsd.Instance = SDIO;
  hsd.Init.ClockEdge = SDIO_CLOCK_EDGE_RISING;
  hsd.Init.ClockBypass = SDIO_CLOCK_BYPASS_DISABLE;
  hsd.Init.ClockPowerSave = SDIO_CLOCK_POWER_SAVE_DISABLE;
  hsd.Init.BusWide = SDIO_BUS_WIDE_4B;
  hsd.Init.HardwareFlowControl = SDIO_HARDWARE_FLOW_CONTROL_DISABLE;
  hsd.Init.ClockDiv = 48;
  /* USER CODE BEGIN SDIO_Init 2 */
  hsd.Init.BusWide = SDIO_BUS_WIDE_1B;
  /* USER CODE END SDIO_Init 2 */

}

static void MX_SPI4_Init(void)
{

  /* SPI4 parameter configuration*/
  hspi4.Instance = SPI4;
  hspi4.Init.Mode = SPI_MODE_MASTER;
  hspi4.Init.Direction = SPI_DIRECTION_2LINES;
  hspi4.Init.DataSize = SPI_DATASIZE_8BIT;
  hspi4.Init.CLKPolarity = SPI_POLARITY_LOW;
  hspi4.Init.CLKPhase = SPI_PHASE_1EDGE;
  hspi4.Init.NSS = SPI_NSS_SOFT;
  hspi4.Init.BaudRatePrescaler = SPI_BAUDRATEPRESCALER_2;
  hspi4.Init.FirstBit = SPI_FIRSTBIT_MSB;
  hspi4.Init.TIMode = SPI_TIMODE_DISABLE;
  hspi4.Init.CRCCalculation = SPI_CRCCALCULATION_DISABLE;
  hspi4.Init.CRCPolynomial = 10;
  if (HAL_SPI_Init(&hspi4) != HAL_OK)
  {
    Error_Handler();
  }

}

static void MX_TIM2_Init(void)
{

  TIM_ClockConfigTypeDef sClockSourceConfig = {0};
  TIM_MasterConfigTypeDef sMasterConfig = {0};

  htim2.Instance = TIM2;
  htim2.Init.Prescaler = 35999;
  htim2.Init.CounterMode = TIM_COUNTERMODE_UP;
  htim2.Init.Period = 499;
  htim2.Init.ClockDivision = TIM_CLOCKDIVISION_DIV2;
  htim2.Init.AutoReloadPreload = TIM_AUTORELOAD_PRELOAD_ENABLE;
  if (HAL_TIM_Base_Init(&htim2) != HAL_OK)
  {
    Error_Handler();
  }
  sClockSourceConfig.ClockSource = TIM_CLOCKSOURCE_INTERNAL;
  if (HAL_TIM_ConfigClockSource(&htim2, &sClockSourceConfig) != HAL_OK)
  {
    Error_Handler();
  }
  sMasterConfig.MasterOutputTrigger = TIM_TRGO_RESET;
  sMasterConfig.MasterSlaveMode = TIM_MASTERSLAVEMODE_DISABLE;
  if (HAL_TIMEx_MasterConfigSynchronization(&htim2, &sMasterConfig) != HAL_OK)
  {
    Error_Handler();
  }

}

static void MX_USART2_UART_Init(void)
{

  /* USER CODE BEGIN USART2_Init 1 */

	//       MODEM

  /* USER CODE END USART2_Init 1 */
  huart2.Instance = USART2;
  huart2.Init.BaudRate = 115200;
  huart2.Init.WordLength = UART_WORDLENGTH_8B;
  huart2.Init.StopBits = UART_STOPBITS_1;
  huart2.Init.Parity = UART_PARITY_NONE;
  huart2.Init.Mode = UART_MODE_TX_RX;
  huart2.Init.HwFlowCtl = UART_HWCONTROL_NONE;
  huart2.Init.OverSampling = UART_OVERSAMPLING_16;
  if (HAL_UART_Init(&huart2) != HAL_OK)
  {
    Error_Handler();
  }

}

static void MX_USART3_UART_Init(void)
{

  huart3.Instance = USART3;
  huart3.Init.BaudRate = 115200;
  huart3.Init.WordLength = UART_WORDLENGTH_8B;
  huart3.Init.StopBits = UART_STOPBITS_1;
  huart3.Init.Parity = UART_PARITY_NONE;
  huart3.Init.Mode = UART_MODE_TX_RX;
  huart3.Init.HwFlowCtl = UART_HWCONTROL_NONE;
  huart3.Init.OverSampling = UART_OVERSAMPLING_16;
  if (HAL_UART_Init(&huart3) != HAL_OK)
  {
    Error_Handler();
  }

}

static void MX_DMA_Init(void)
{

  /* DMA controller clock enable */
  __HAL_RCC_DMA2_CLK_ENABLE();
  __HAL_RCC_DMA1_CLK_ENABLE();

  /* DMA interrupt init */
  /* DMA1_Stream3_IRQn interrupt configuration */
  HAL_NVIC_SetPriority(DMA1_Stream3_IRQn, 0, 0);
  HAL_NVIC_EnableIRQ(DMA1_Stream3_IRQn);
  /* DMA1_Stream6_IRQn interrupt configuration */
  HAL_NVIC_SetPriority(DMA1_Stream6_IRQn, 0, 0);
  HAL_NVIC_EnableIRQ(DMA1_Stream6_IRQn);
  /* DMA2_Stream0_IRQn interrupt configuration */
  HAL_NVIC_SetPriority(DMA2_Stream0_IRQn, 0, 0);
  HAL_NVIC_EnableIRQ(DMA2_Stream0_IRQn);
  /* DMA2_Stream1_IRQn interrupt configuration */
  HAL_NVIC_SetPriority(DMA2_Stream1_IRQn, 0, 0);
  HAL_NVIC_EnableIRQ(DMA2_Stream1_IRQn);
  /* DMA2_Stream3_IRQn interrupt configuration */
  HAL_NVIC_SetPriority(DMA2_Stream3_IRQn, 0, 0);
  HAL_NVIC_EnableIRQ(DMA2_Stream3_IRQn);

}

static void MX_GPIO_Init(void)
{
  GPIO_InitTypeDef GPIO_InitStruct = {0};

  /* GPIO Ports Clock Enable */
  __HAL_RCC_GPIOE_CLK_ENABLE();
  __HAL_RCC_GPIOC_CLK_ENABLE();
  __HAL_RCC_GPIOH_CLK_ENABLE();
  __HAL_RCC_GPIOA_CLK_ENABLE();
  __HAL_RCC_GPIOD_CLK_ENABLE();
  __HAL_RCC_GPIOB_CLK_ENABLE();

  /*Configure GPIO pin Output Level */
  HAL_GPIO_WritePin(GPIOE, SPI4_RST_Pin|SPI4_HOLD_Pin, GPIO_PIN_SET);

  /*Configure GPIO pin Output Level */
  HAL_GPIO_WritePin(MOD_WAKE_GPIO_Port, MOD_WAKE_Pin, GPIO_PIN_RESET);

  /*Configure GPIO pin Output Level */
  HAL_GPIO_WritePin(MOD_RST_GPIO_Port, MOD_RST_Pin, GPIO_PIN_SET);

  /*Configure GPIO pin Output Level */
  HAL_GPIO_WritePin(GPIOE, MOD_PWR_ON_Pin|LED_MODE_Pin|SPI4_WP_Pin, GPIO_PIN_RESET);

  /*Configure GPIO pin Output Level */
  HAL_GPIO_WritePin(SPI4_CS1_GPIO_Port, SPI4_CS1_Pin, GPIO_PIN_SET);

  /*Configure GPIO pin : SPI4_RST_Pin */
  GPIO_InitStruct.Pin = SPI4_RST_Pin;
  GPIO_InitStruct.Mode = GPIO_MODE_OUTPUT_PP;
  GPIO_InitStruct.Pull = GPIO_PULLUP;
  GPIO_InitStruct.Speed = GPIO_SPEED_FREQ_LOW;
  HAL_GPIO_Init(SPI4_RST_GPIO_Port, &GPIO_InitStruct);

  /*Configure GPIO pin : MOD_WAKE_Pin */
  GPIO_InitStruct.Pin = MOD_WAKE_Pin;
  GPIO_InitStruct.Mode = GPIO_MODE_OUTPUT_PP;
  GPIO_InitStruct.Pull = GPIO_NOPULL;
  GPIO_InitStruct.Speed = GPIO_SPEED_FREQ_LOW;
  HAL_GPIO_Init(MOD_WAKE_GPIO_Port, &GPIO_InitStruct);

  /*Configure GPIO pin : MOD_RST_Pin */
  GPIO_InitStruct.Pin = MOD_RST_Pin;
  GPIO_InitStruct.Mode = GPIO_MODE_OUTPUT_PP;
  GPIO_InitStruct.Pull = GPIO_PULLUP;
  GPIO_InitStruct.Speed = GPIO_SPEED_FREQ_LOW;
  HAL_GPIO_Init(MOD_RST_GPIO_Port, &GPIO_InitStruct);

  /*Configure GPIO pin : MOD_PWR_ON_Pin */
  GPIO_InitStruct.Pin = MOD_PWR_ON_Pin;
  GPIO_InitStruct.Mode = GPIO_MODE_OUTPUT_OD;
  GPIO_InitStruct.Pull = GPIO_PULLUP;
  GPIO_InitStruct.Speed = GPIO_SPEED_FREQ_LOW;
  HAL_GPIO_Init(MOD_PWR_ON_GPIO_Port, &GPIO_InitStruct);

  /*Configure GPIO pins : LED_MODE_Pin SPI4_HOLD_Pin SPI4_WP_Pin */
  GPIO_InitStruct.Pin = LED_MODE_Pin|SPI4_HOLD_Pin|SPI4_WP_Pin;
  GPIO_InitStruct.Mode = GPIO_MODE_OUTPUT_PP;
  GPIO_InitStruct.Pull = GPIO_PULLUP;
  GPIO_InitStruct.Speed = GPIO_SPEED_FREQ_MEDIUM;
  HAL_GPIO_Init(GPIOE, &GPIO_InitStruct);

  /*Configure GPIO pin : SPI4_CS1_Pin */
  GPIO_InitStruct.Pin = SPI4_CS1_Pin;
  GPIO_InitStruct.Mode = GPIO_MODE_OUTPUT_PP;
  GPIO_InitStruct.Pull = GPIO_PULLUP;
  GPIO_InitStruct.Speed = GPIO_SPEED_FREQ_HIGH;
  HAL_GPIO_Init(SPI4_CS1_GPIO_Port, &GPIO_InitStruct);

}

/* USER CODE BEGIN 4 */

void HAL_TIM_PeriodElapsedCallback(TIM_HandleTypeDef *htim)
{
  /* USER CODE BEGIN Callback 0 */

	if (htim->Instance == TIM2) {
		vatra++;
		if ((vatra & 3) == 3) {
			seconda++;
			HAL_GPIO_TogglePin(LED_MODE_GPIO_Port, LED_MODE_Pin);
		}
		//
		CDC_Recv((uint8_t *)rxVCP, &lenVCP);
	}

  /* USER CODE END Callback 0 */
  /* USER CODE BEGIN Callback 1 */

  /* USER CODE END Callback 1 */
}
//------------------------------------------------------------------------------------------
void HAL_UART_TxCpltCallback(UART_HandleTypeDef *huart)
{
	if (huart->Instance == USART3) uartRdy = 1;
	else
	if (huart->Instance == USART2) uartRdyMod = 1;
}
//------------------------------------------------------------------------------------------
void HAL_UART_RxCpltCallback(UART_HandleTypeDef *huart)
{
	if (huart->Instance == USART2) {
		//
		if ((uRxByteMod > 0x0d) && (uRxByteMod < 0x80)) {
			if (uRxByteMod >= 0x20) adone = 1;
			if (adone) RxBufMod[rx_uk_mod] = (char)uRxByteMod;
		}
		//
		if (adone) {
			if ( (uRxByteMod == 0x0a) || (uRxByteMod == 0x3e) ) {// '\n' || '>'
				//if (uRxByteMod != 0x3e) strcat(RxBufMod, "\r\n");//0x0D 0x0A
				//if (strstr(RxBufMod, "OK")) {
					int len = strlen(RxBufMod);
					if (gsmAckFlag) {
						// Блок помещает в очередь ответов на команду очередное сообщение от модуля GSM
						char *from = (char *)calloc(1, len + 1);
						if (from) {
							memcpy(from, RxBufMod, len);
							if (putSRECQ(from, &gsmAck) < 0) {
								devError |= devQue;
								free(from);
							} else {
								if (devError & devQue) devError &= ~devQue;
							}
						} else {
							devError |= devMEM;
						}
						//-----------------------------------------------------------------------------
					}
				//}
				//strcpy(atAck, RxBufMod);
				rx_uk_mod = 0;
				memset(RxBufMod, 0, sizeof(RxBufMod));
				//cmd = sModAck;
			} else rx_uk_mod++;
		}

		HAL_UART_Receive_IT(huart, (uint8_t *)&uRxByteMod, 1);
	}
	else
	if (huart->Instance == USART3) {
		RxBuf[rx_uk & 0xff] = (char)uRxByte;
		if ((uRxByte == 0x0a) && (rx_uk >= 2)) {//end of line
			char *uk = NULL;
			icmd = sNone;
			//
			uk = strchr(RxBuf, '\r');
			if (uk) *uk = '\0';
			else {
				if ((uk = strchr(RxBuf, '\n'))) *uk = '\0';
			}
			//
			if ((uk = strstr(RxBuf, "epoch="))) {
				uint32_t ep = atol(uk + 6);
				if (ep > epoch) {
					set_Date(ep);
					cmd = sGetMsg;
				}
			} else if ((uk = strstr(RxBuf, "quit"))) {
				HAL_GPIO_WritePin(MOD_PWR_ON_GPIO_Port, MOD_PWR_ON_Pin, GPIO_PIN_RESET);
				QuitLoop = true;
			} else if ((uk = strstr(RxBuf, "restart"))) {
				if (!QuitLoop) {
					cmd = sRestart;
				} else {
					NVIC_SystemReset();
				}
			} else if ((uk = strstr(RxBuf, "get"))) {
				cmd = sGetMsg;
			} else if ( ((uk = strstr(RxBuf, "m:"))) || ((uk = strstr(RxBuf, "M:"))) ) {
				uk += 2;
				if (strstr(uk, "AT")) {
					sprintf(atCmd, "\r\n%s", uk);
					//
					icmd = getCmdInd(atCmd);
					//
					cmd = sModCmd;
				} else if (strstr(uk, "PWR_ON")) {//MOD PWR = 1
					cmd = sModPwrOn;
				} else if (strstr(uk, "PWR_OFF")) {//MOD PWR = 0
					cmd = sModPwrOff;
				} else if (strstr(uk, "RST")) {//MOD RESET = 0
					cmd = sModRst;
				} else if (strstr(uk, "Z")) {//Ctrl+Z
					sprintf(atCmd, "%c\r\n", 0x1a);
					cmd = sModCmd;
				} else {
					sprintf(atCmd, "%s%c", uk, 0x1a);
					cmd = sModCmd;
				}
			}
#ifdef SET_FAT_SD
			else if ((uk = strstr(RxBuf, "cat="))) {
				uk += 4;
				strcpy(str_name, uk);
				cmd = sRdFile;
			} else if ((uk = strstr(RxBuf, "mkdir="))) {
				uk += 6;
				strcpy(str_name, uk);
				cmd = sMkDir;
			} else if ((uk = strstr(RxBuf, "dir="))) {
				uk += 4;
				strcpy(str_name, uk);
				cmd = sRdDir;
			} else if ((uk = strstr(RxBuf, "rm="))) {
				uk += 3;
				strcpy(str_name, uk);
				cmd = sRemove;
			}
#endif
#ifdef SET_W25FLASH
			else if ((uk = strstr(RxBuf, "erase="))) {//erase:0 //erase:max = erase:4096
				if (cmd == sNone) {
					uint32_t item;
					if (strstr(uk + 6, "max")) item = w25qxx.SectorCount;//erase all sectors
										  else item = atol(uk + 6);      //erase sector
					if ((item >= 0) && (item <= w25qxx.SectorCount)) {
						esector = item;
						cmd = sErase;
					}
				}
			} else if ((uk = strstr(RxBuf, "read="))) {
				if (cmd == sNone) {
					uint32_t page = atol(uk + 5);
					if ((page >= 0) && (page < w25qxx.PageCount)) {
						rpage = page;
						cmd = sRead;
					}
				}
			} else if ((uk = strstr(RxBuf, "fill="))) {//fill=0:127
				uk += 5;//pointer to page number
				char *uki = strchr(uk, ':');
				if (uki) {
					char *ukp = uki;
					uki++;
					if (strstr(uki, "0x")) {
						uki += 2;
						byte_fill = hexToBin(uki);
					} else byte_fill = atol(uki + 1);
					*ukp = '\0';
					uint32_t page = atol(uk);
					if ((page >= 0) && (page < W25qxx_getPageCount())) {
						rpage = page;
						cmd = sFill;
					}
				}
			}
#endif
			rx_uk = 0;
			memset(RxBuf, 0, sizeof(RxBuf));
		} else rx_uk++;

		HAL_UART_Receive_IT(huart, (uint8_t *)&uRxByte, 1);
	}
}
//------------------------------------------------------------------------------------------

//-------------------------------------------------------------------------------------------

//-------------------------------------------------------------------------------------------
#ifdef SET_W25FLASH
void HAL_SPI_TxCpltCallback(SPI_HandleTypeDef *hspi)
{
	if (hspi->Instance == SPI4) {//FLASH
		spi_cnt++;
		spiRdy = 1;
	#ifdef SET_W25FLASH_DMA
		if (w25_withDMA) {
			W25_UNSELECT();
			//putMsg(msg_spiTxDone);
		}
	#endif
	}
}
//-------------------------------------------------------------------------------------------
void HAL_SPI_RxCpltCallback(SPI_HandleTypeDef *hspi)
{
	if (hspi->Instance == SPI4) {//FLASH
		spi_cnt++;
		spiRdy = 1;
	#ifdef SET_W25FLASH_DMA
		if (w25_withDMA) {
			W25_UNSELECT();
			//putMsg(msg_spiRxDone);
		}
	#endif
	}
}
#endif
//-------------------------------------------------------------------------------------------
/* USER CODE END 4 */

void Error_Handler(void)
{
  __disable_irq();
  while (1)
  {
  }
}
